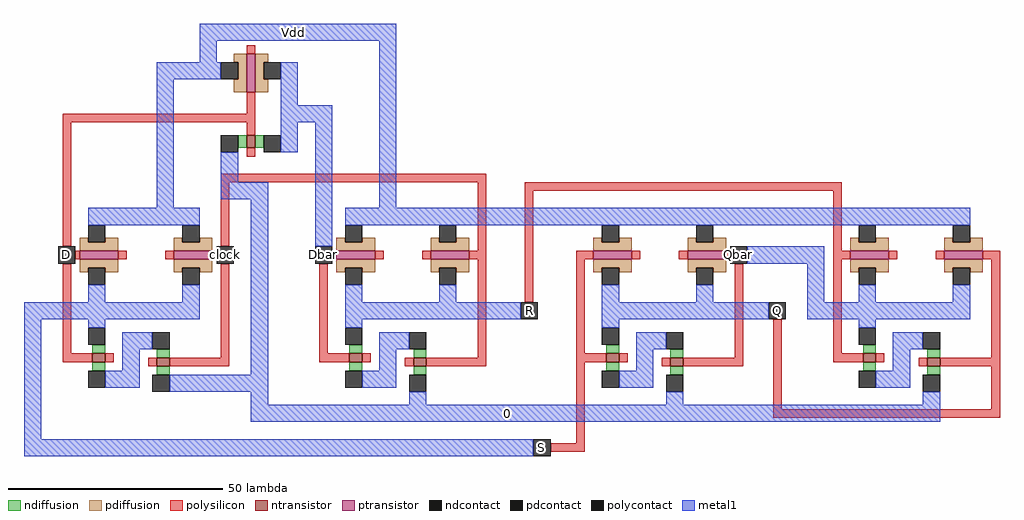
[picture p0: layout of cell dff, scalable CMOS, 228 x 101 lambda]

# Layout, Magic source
magic
tech scmos
<< polysilicon >>
rect 31 51 33 53
rect 31 37 33 42
rect -12 35 33 37
rect -12 6 -10 35
rect 31 32 33 35
rect 31 27 33 29
rect 25 21 87 23
rect 25 6 27 21
rect -9 3 -8 5
rect 1 3 3 5
rect 12 3 14 5
rect 23 3 24 5
rect -12 -19 -10 2
rect 85 5 87 21
rect 51 3 52 5
rect 61 3 63 5
rect 72 3 74 5
rect 83 3 87 5
rect -12 -21 -5 -19
rect -2 -21 0 -19
rect 25 -20 27 2
rect 8 -22 10 -20
rect 13 -22 27 -20
rect 48 -19 50 2
rect 48 -21 55 -19
rect 58 -21 60 -19
rect 85 -20 87 3
rect 96 19 170 21
rect 96 -7 98 19
rect 108 3 112 5
rect 121 3 123 5
rect 132 3 134 5
rect 143 3 144 5
rect 68 -22 70 -20
rect 73 -22 87 -20
rect 108 -19 110 3
rect 168 5 170 19
rect 168 3 172 5
rect 181 3 183 5
rect 192 3 194 5
rect 203 3 207 5
rect 108 -21 115 -19
rect 118 -21 120 -19
rect 145 -20 147 2
rect 108 -40 110 -21
rect 128 -22 130 -20
rect 133 -22 147 -20
rect 154 -32 156 -11
rect 168 -19 170 3
rect 168 -21 175 -19
rect 178 -21 180 -19
rect 205 -20 207 3
rect 188 -22 190 -20
rect 193 -22 207 -20
rect 205 -32 207 -22
rect 154 -34 207 -32
rect 102 -42 110 -40
<< ndiffusion >>
rect 29 29 31 32
rect 33 29 35 32
rect -5 -19 -2 -17
rect 10 -20 13 -18
rect -5 -23 -2 -21
rect 55 -19 58 -17
rect 70 -20 73 -18
rect 10 -24 13 -22
rect 55 -23 58 -21
rect 115 -19 118 -17
rect 130 -20 133 -18
rect 70 -24 73 -22
rect 115 -23 118 -21
rect 130 -24 133 -22
rect 175 -19 178 -17
rect 190 -20 193 -18
rect 175 -23 178 -21
rect 190 -24 193 -22
<< pdiffusion >>
rect 28 49 31 51
rect 29 45 31 49
rect 28 42 31 45
rect 33 49 36 51
rect 33 45 35 49
rect 33 42 36 45
rect -8 7 -6 8
rect -2 7 1 8
rect -8 5 1 7
rect 14 7 16 8
rect 20 7 23 8
rect 14 5 23 7
rect 52 7 54 8
rect 58 7 61 8
rect -8 1 1 3
rect -8 0 -6 1
rect -2 0 1 1
rect 14 1 23 3
rect 52 5 61 7
rect 74 7 76 8
rect 80 7 83 8
rect 74 5 83 7
rect 14 0 16 1
rect 20 0 23 1
rect 52 1 61 3
rect 52 0 54 1
rect 58 0 61 1
rect 74 1 83 3
rect 74 0 76 1
rect 80 0 83 1
rect 112 7 114 8
rect 118 7 121 8
rect 112 5 121 7
rect 134 7 136 8
rect 140 7 143 8
rect 134 5 143 7
rect 112 1 121 3
rect 112 0 114 1
rect 118 0 121 1
rect 134 1 143 3
rect 172 7 174 8
rect 178 7 181 8
rect 172 5 181 7
rect 194 7 196 8
rect 200 7 203 8
rect 194 5 203 7
rect 134 0 136 1
rect 140 0 143 1
rect 172 1 181 3
rect 172 0 174 1
rect 178 0 181 1
rect 194 1 203 3
rect 194 0 196 1
rect 200 0 203 1
<< metal1 >>
rect 20 54 66 58
rect 20 49 24 54
rect 10 45 25 49
rect 10 15 14 45
rect 39 39 43 49
rect 39 35 51 39
rect 39 28 43 35
rect 25 21 29 28
rect 25 17 36 21
rect -6 11 20 15
rect -6 -7 -2 -3
rect 16 -7 20 -3
rect -21 -11 20 -7
rect -21 -39 -17 -11
rect -6 -13 -2 -11
rect 2 -18 9 -14
rect 2 -23 6 -18
rect -2 -27 6 -23
rect 32 -24 36 17
rect 47 6 51 35
rect 62 15 66 54
rect 54 11 200 15
rect 148 2 166 6
rect 54 -7 58 -3
rect 76 -7 80 -3
rect 114 -7 118 -3
rect 136 -7 140 -3
rect 162 -7 166 2
rect 174 -7 178 -3
rect 196 -7 200 -3
rect 54 -11 95 -7
rect 114 -11 153 -7
rect 162 -11 200 -7
rect 54 -13 58 -11
rect 114 -13 118 -11
rect 62 -18 69 -14
rect 174 -13 178 -11
rect 122 -18 129 -14
rect 182 -18 189 -14
rect 62 -23 66 -18
rect 122 -23 126 -18
rect 182 -23 186 -18
rect 13 -28 36 -24
rect 58 -27 66 -23
rect 32 -31 36 -28
rect 118 -27 126 -23
rect 69 -31 73 -28
rect 178 -27 186 -23
rect 129 -31 133 -28
rect 189 -31 193 -28
rect 32 -35 193 -31
rect -21 -43 98 -39
<< ntransistor >>
rect 31 29 33 32
rect -5 -21 -2 -19
rect 10 -22 13 -20
rect 55 -21 58 -19
rect 70 -22 73 -20
rect 115 -21 118 -19
rect 130 -22 133 -20
rect 175 -21 178 -19
rect 190 -22 193 -20
<< ptransistor >>
rect 31 42 33 51
rect -8 3 1 5
rect 14 3 23 5
rect 52 3 61 5
rect 74 3 83 5
rect 112 3 121 5
rect 134 3 143 5
rect 172 3 181 5
rect 194 3 203 5
<< polycontact >>
rect -13 2 -9 6
rect 24 2 28 6
rect 47 2 51 6
rect 95 -11 99 -7
rect 144 2 148 6
rect 153 -11 157 -7
rect 98 -43 102 -39
<< ndcontact >>
rect 25 28 29 32
rect 35 28 39 32
rect -6 -17 -2 -13
rect 9 -18 13 -14
rect 54 -17 58 -13
rect 69 -18 73 -14
rect -6 -27 -2 -23
rect 114 -17 118 -13
rect 129 -18 133 -14
rect 9 -28 13 -24
rect 54 -27 58 -23
rect 69 -28 73 -24
rect 114 -27 118 -23
rect 129 -28 133 -24
rect 174 -17 178 -13
rect 189 -18 193 -14
rect 174 -27 178 -23
rect 189 -28 193 -24
<< pdcontact >>
rect 25 45 29 49
rect 35 45 39 49
rect -6 7 -2 11
rect 16 7 20 11
rect 54 7 58 11
rect -6 -3 -2 1
rect 76 7 80 11
rect 16 -3 20 1
rect 54 -3 58 1
rect 76 -3 80 1
rect 114 7 118 11
rect 136 7 140 11
rect 114 -3 118 1
rect 174 7 178 11
rect 196 7 200 11
rect 136 -3 140 1
rect 174 -3 178 1
rect 196 -3 200 1
<< labels >>
rlabel polycontact -11 4 -11 4 1 D
rlabel metal1 42 56 42 56 5 Vdd
rlabel polycontact 26 4 26 4 1 clock
rlabel metal1 92 -33 92 -33 1 0
rlabel polycontact 49 4 49 4 1 Dbar
rlabel polycontact 100 -41 100 -41 1 S
rlabel polycontact 97 -9 97 -9 1 R
rlabel polycontact 155 -9 155 -9 1 Q
rlabel polycontact 146 4 146 4 1 Qbar
<< end >>
